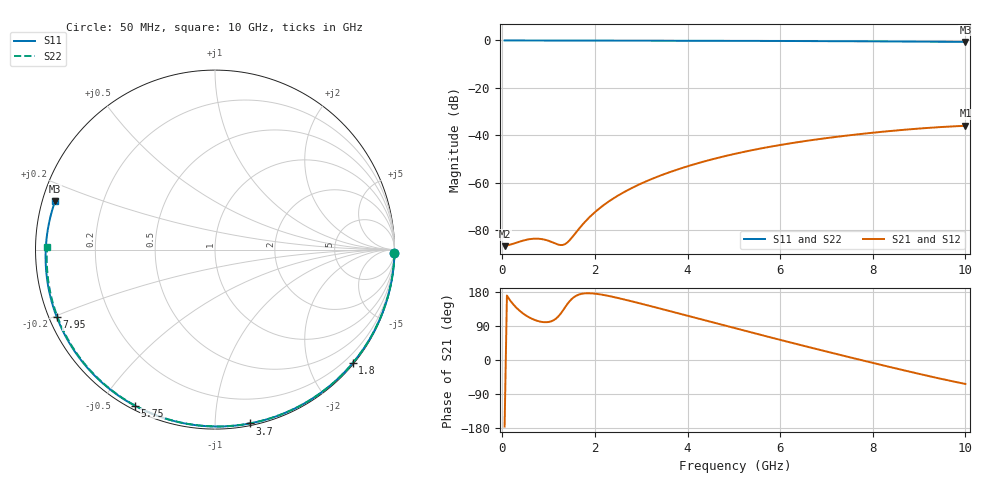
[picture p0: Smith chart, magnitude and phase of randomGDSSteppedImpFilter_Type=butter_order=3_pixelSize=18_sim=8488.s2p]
! freq	dB(S11)	phase(S11)	dB(S12)	phase(S12)
!  dB(S21)	phase(S21)	dB(S22)	phase(S22)
!S-par simulation data
#  GHz  S  DB  R 50
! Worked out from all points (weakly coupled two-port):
!   200 points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, 50 MHz to 10 GHz, reference 50 ohm
!   highest |S21| = -35.96 dB at 10 GHz (marker M1); lowest = -86.7 dB at 50 MHz (marker M2)
!   lowest |S11| = -0.6 dB at 10 GHz (marker M3), VSWR 28.01, Z = 1.82 + j7.34 ohm
!   |S11| at or under -10 dB: nowhere
!   |S22| runs from -0.6 to 0.0 dB; largest |S21 - S12| = 0
!   S11 on the Smith chart (normalised r, x): 50 MHz: open; 1.8 GHz: 0.03, -2.78; 3.7 GHz: 0.02, -1.22; 5.75 GHz: 0.02, -0.61; 7.95 GHz: 0.02, -0.20; 10 GHz: 0.04, +0.15
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0.05  -0.00 -1.1  -86.68 -175.7  -86.68 -175.7  -0.00 -1.1
0.4  -0.01 -8.9  -84.60 127.4  -84.60 127.4  -0.01 -8.5
0.8  -0.02 -17.8  -83.57 101.8  -83.57 101.8  -0.02 -16.9
1.2  -0.03 -26.6  -85.96 113.6  -85.96 113.6  -0.03 -25.2
1.6  -0.04 -35.3  -80.69 169.8  -80.69 169.8  -0.04 -33.4
1.65  -0.05 -36.4  -79.48 172.5  -79.48 172.5  -0.04 -34.4
1.75  -0.05 -38.5  -77.19 175.4  -77.19 175.4  -0.05 -36.5
1.8  -0.05 -39.6  -76.12 176.0  -76.12 176.0  -0.05 -37.5
2.1  -0.06 -46.0  -70.72 173.4  -70.72 173.4  -0.06 -43.5
2.45  -0.07 -53.3  -65.94 165.0  -65.94 165.0  -0.06 -50.4
2.9  -0.08 -62.6  -61.19 151.7  -61.19 151.7  -0.08 -59.2
3.4  -0.10 -72.7  -57.03 136.0  -57.03 136.0  -0.09 -68.7
3.7  -0.11 -78.6  -54.91 126.4  -54.91 126.4  -0.10 -74.3
4.35  -0.13 -91.2  -51.02 105.6  -51.02 105.6  -0.12 -86.1
5.05  -0.16 -104.4  -47.65 83.2  -47.65 83.2  -0.15 -98.4
5.75  -0.20 -117.2  -44.90 61.0  -44.90 61.0  -0.18 -110.3
6.7  -0.26 -134.3  -41.94 31.5  -41.94 31.5  -0.24 -125.9
7.35  -0.31 -146.0  -40.29 11.8  -40.29 11.8  -0.29 -136.4
7.95  -0.37 -156.9  -38.98 -6.1  -38.98 -6.1  -0.34 -146.1
8.35  -0.41 -164.3  -38.20 -17.9  -38.20 -17.9  -0.38 -152.6
9.2  -0.51 179.5  -36.83 -42.2  -36.83 -42.2  -0.47 -166.7
10  -0.62 163.3  -35.96 -63.2  -35.96 -63.2  -0.59 179.0
